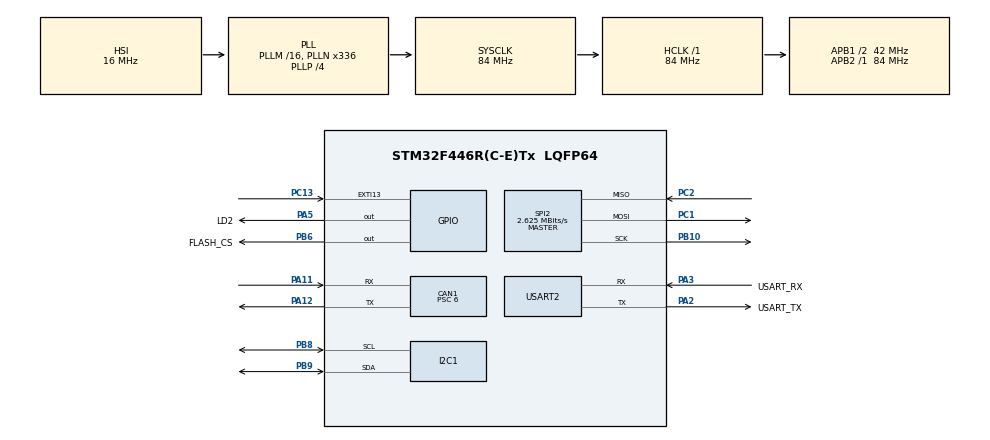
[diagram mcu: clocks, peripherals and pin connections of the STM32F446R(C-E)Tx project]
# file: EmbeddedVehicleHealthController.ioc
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CAN1.BS1=CAN_BS1_11TQ
CAN1.BS2=CAN_BS2_2TQ
CAN1.CalculateBaudRate=500000
CAN1.CalculateTimeBit=2000
CAN1.CalculateTimeQuantum=142.85714285714286
CAN1.Mode=CAN_MODE_LOOPBACK
CAN1.NART=ENABLE
CAN1.Prescaler=6
IWDG.Prescaler=IWDG_PRESCALER_64
IWDG.Reload=999
Mcu.Family=STM32F4
Mcu.Name=STM32F446R(C-E)Tx
Mcu.Package=LQFP64
NUCLEO-F446RE.BUTTON=1
NUCLEO-F446RE.LD1=true
NVIC.EXTI15_10_IRQn=true\:0\:0\:false\:false\:true\:false\:true\:true
NVIC.PriorityGroup=NVIC_PRIORITYGROUP_0
NVIC.TIM7_IRQn=true\:0\:0\:false\:false\:true\:true\:true\:true
NVIC.USART2_IRQn=true\:0\:0\:false\:false\:true\:true\:true\:true
PA11.Mode=CAN_Activate
PA11.Signal=CAN1_RX
PA12.Mode=CAN_Activate
PA12.Signal=CAN1_TX
PA13.GPIO_Label=TMS
PA13.Signal=SYS_JTMS-SWDIO
PA14.GPIO_Label=TCK
PA14.Signal=SYS_JTCK-SWCLK
PA2.GPIO_Label=USART_TX
PA2.Mode=Asynchronous
PA2.Signal=USART2_TX
PA3.GPIO_Label=USART_RX
PA3.Mode=Asynchronous
PA3.Signal=USART2_RX
PA5.GPIO_Label=LD2
PA5.Signal=GPIO_Output
PB10.Mode=Full_Duplex_Master
PB10.Signal=SPI2_SCK
PB3.GPIO_Label=SWO
PB3.Signal=SYS_JTDO-SWO
PB6.GPIO_Label=FLASH_CS
PB6.PinState=GPIO_PIN_SET
PB6.Signal=GPIO_Output
PB8.Mode=I2C
PB8.Signal=I2C1_SCL
PB9.Mode=I2C
PB9.Signal=I2C1_SDA
PC1.Mode=Full_Duplex_Master
PC1.Signal=SPI2_MOSI
PC13.Signal=GPXTI13
PC14-OSC32_IN.Signal=RCC_OSC32_IN
PC15-OSC32_OUT.Signal=RCC_OSC32_OUT
PC2.Mode=Full_Duplex_Master
PC2.Signal=SPI2_MISO
PH0-OSC_IN.Signal=RCC_OSC_IN
PH1-OSC_OUT.Signal=RCC_OSC_OUT
ProjectManager.HeapSize=0x200
ProjectManager.StackSize=0x400
ProjectManager.TargetToolchain=STM32CubeIDE
RCC.AHBFreq_Value=84000000
RCC.APB1CLKDivider=RCC_HCLK_DIV2
RCC.APB1Freq_Value=42000000
RCC.APB1TimFreq_Value=84000000
RCC.APB2Freq_Value=84000000
RCC.APB2TimFreq_Value=84000000
RCC.CortexFreq_Value=84000000
RCC.FLatency-AdvancedSettings=FLASH_LATENCY_2
RCC.HCLKFreq_Value=84000000
RCC.HSE_VALUE=8000000
RCC.HSI_VALUE=16000000
RCC.LSE_VALUE=32768
RCC.PLLN=336
RCC.PLLP=RCC_PLLP_DIV4
RCC.SYSCLKFreq_VALUE=84000000
RCC.SYSCLKSource=RCC_SYSCLKSOURCE_PLLCLK
RCC.USBFreq_Value=168000000
RCC.VCOOutputFreq_Value=336000000
SPI2.BaudRatePrescaler=SPI_BAUDRATEPRESCALER_16
SPI2.CalculateBaudRate=2.625 MBits/s
SPI2.Direction=SPI_DIRECTION_2LINES
SPI2.Mode=SPI_MODE_MASTER
SPI2.VirtualType=VM_MASTER
TIM7.Period=999
TIM7.Prescaler=8399
USART2.VirtualMode=VM_ASYNC
VP_IWDG_VS_IWDG.Mode=IWDG_Activate
VP_NUCLEO-F446RE_VS_BSP_COMMON.Mode=COMMON
VP_TIM7_VS_ClockSourceINT.Mode=Enable_Timer
board=NUCLEO-F446RE

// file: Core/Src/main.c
/* USER CODE BEGIN Header */
/**
  ******************************************************************************
  * @file           : main.c
  * @brief          : Main program body
  ******************************************************************************
  * @attention
  *
  * Copyright (c) 2026 STMicroelectronics.
  * All rights reserved.
  *
  * This software is licensed under terms that can be found in the LICENSE file
  * in the root directory of this software component.
  * If no LICENSE file comes with this software, it is provided AS-IS.
  *
  ******************************************************************************
  */
/* USER CODE END Header */
#include "main.h"

/* USER CODE BEGIN Includes */
#include "application_bridge.h"
/* USER CODE END Includes */

CAN_HandleTypeDef hcan1;

I2C_HandleTypeDef hi2c1;

IWDG_HandleTypeDef hiwdg;

SPI_HandleTypeDef hspi2;

TIM_HandleTypeDef htim7;

UART_HandleTypeDef huart2;

/* USER CODE BEGIN PV */

static uint8_t uart2RxByte;

/* USER CODE END PV */

void SystemClock_Config(void);
static void MX_GPIO_Init(void);
static void MX_TIM7_Init(void);
static void MX_USART2_UART_Init(void);
static void MX_IWDG_Init(void);
static void MX_I2C1_Init(void);
static void MX_SPI2_Init(void);
static void MX_CAN1_Init(void);

int main(void)
{

  /* MCU Configuration--------------------------------------------------------*/

  /* Reset of all peripherals, Initializes the Flash interface and the Systick. */
  HAL_Init();

  /* Configure the system clock */
  SystemClock_Config();

  /* Initialize all configured peripherals */
  MX_GPIO_Init();
  MX_TIM7_Init();
  MX_USART2_UART_Init();
  MX_IWDG_Init();
  MX_I2C1_Init();
  MX_SPI2_Init();
  MX_CAN1_Init();

  /* Initialize leds */
  BSP_LED_Init(LED2);

  /* Initialize USER push-button, will be used to trigger an interrupt each time it's pressed.*/
  BSP_PB_Init(BUTTON_USER, BUTTON_MODE_EXTI);

  /* Infinite loop */
  /* USER CODE BEGIN WHILE */
  application_init();

  if (HAL_TIM_Base_Start_IT(&htim7) != HAL_OK)
  {
      Error_Handler();
  }

  if (HAL_UART_Receive_IT(
          &huart2,
          &uart2RxByte,
          1U) != HAL_OK)
  {
      Error_Handler();
  }

  while (1)
  {

    /* USER CODE END WHILE */

    /* USER CODE BEGIN 3 */
	application_run();
  }
  /* USER CODE END 3 */
}

void SystemClock_Config(void)
{
  RCC_OscInitTypeDef RCC_OscInitStruct = {0};
  RCC_ClkInitTypeDef RCC_ClkInitStruct = {0};

  /** Configure the main internal regulator output voltage
  */
  __HAL_RCC_PWR_CLK_ENABLE();
  __HAL_PWR_VOLTAGESCALING_CONFIG(PWR_REGULATOR_VOLTAGE_SCALE3);

  /** Initializes the RCC Oscillators according to the specified parameters
  * in the RCC_OscInitTypeDef structure.
  */
  RCC_OscInitStruct.OscillatorType = RCC_OSCILLATORTYPE_HSI|RCC_OSCILLATORTYPE_LSI;
  RCC_OscInitStruct.HSIState = RCC_HSI_ON;
  RCC_OscInitStruct.HSICalibrationValue = RCC_HSICALIBRATION_DEFAULT;
  RCC_OscInitStruct.LSIState = RCC_LSI_ON;
  RCC_OscInitStruct.PLL.PLLState = RCC_PLL_ON;
  RCC_OscInitStruct.PLL.PLLSource = RCC_PLLSOURCE_HSI;
  RCC_OscInitStruct.PLL.PLLM = 16;
  RCC_OscInitStruct.PLL.PLLN = 336;
  RCC_OscInitStruct.PLL.PLLP = RCC_PLLP_DIV4;
  RCC_OscInitStruct.PLL.PLLQ = 2;
  RCC_OscInitStruct.PLL.PLLR = 2;
  if (HAL_RCC_OscConfig(&RCC_OscInitStruct) != HAL_OK)
  {
    Error_Handler();
  }

  /** Initializes the CPU, AHB and APB buses clocks
  */
  RCC_ClkInitStruct.ClockType = RCC_CLOCKTYPE_HCLK|RCC_CLOCKTYPE_SYSCLK
                              |RCC_CLOCKTYPE_PCLK1|RCC_CLOCKTYPE_PCLK2;
  RCC_ClkInitStruct.SYSCLKSource = RCC_SYSCLKSOURCE_PLLCLK;
  RCC_ClkInitStruct.AHBCLKDivider = RCC_SYSCLK_DIV1;
  RCC_ClkInitStruct.APB1CLKDivider = RCC_HCLK_DIV2;
  RCC_ClkInitStruct.APB2CLKDivider = RCC_HCLK_DIV1;

  if (HAL_RCC_ClockConfig(&RCC_ClkInitStruct, FLASH_LATENCY_2) != HAL_OK)
  {
    Error_Handler();
  }
}

static void MX_CAN1_Init(void)
{

  hcan1.Instance = CAN1;
  hcan1.Init.Prescaler = 6;
  hcan1.Init.Mode = CAN_MODE_LOOPBACK;
  hcan1.Init.SyncJumpWidth = CAN_SJW_1TQ;
  hcan1.Init.TimeSeg1 = CAN_BS1_11TQ;
  hcan1.Init.TimeSeg2 = CAN_BS2_2TQ;
  hcan1.Init.TimeTriggeredMode = DISABLE;
  hcan1.Init.AutoBusOff = DISABLE;
  hcan1.Init.AutoWakeUp = DISABLE;
  hcan1.Init.AutoRetransmission = ENABLE;
  hcan1.Init.ReceiveFifoLocked = DISABLE;
  hcan1.Init.TransmitFifoPriority = DISABLE;
  if (HAL_CAN_Init(&hcan1) != HAL_OK)
  {
    Error_Handler();
  }

}

static void MX_I2C1_Init(void)
{

  hi2c1.Instance = I2C1;
  hi2c1.Init.ClockSpeed = 100000;
  hi2c1.Init.DutyCycle = I2C_DUTYCYCLE_2;
  hi2c1.Init.OwnAddress1 = 0;
  hi2c1.Init.AddressingMode = I2C_ADDRESSINGMODE_7BIT;
  hi2c1.Init.DualAddressMode = I2C_DUALADDRESS_DISABLE;
  hi2c1.Init.OwnAddress2 = 0;
  hi2c1.Init.GeneralCallMode = I2C_GENERALCALL_DISABLE;
  hi2c1.Init.NoStretchMode = I2C_NOSTRETCH_DISABLE;
  if (HAL_I2C_Init(&hi2c1) != HAL_OK)
  {
    Error_Handler();
  }

}

static void MX_IWDG_Init(void)
{

  hiwdg.Instance = IWDG;
  hiwdg.Init.Prescaler = IWDG_PRESCALER_64;
  hiwdg.Init.Reload = 999;
  if (HAL_IWDG_Init(&hiwdg) != HAL_OK)
  {
    Error_Handler();
  }

}

static void MX_SPI2_Init(void)
{

  /* SPI2 parameter configuration*/
  hspi2.Instance = SPI2;
  hspi2.Init.Mode = SPI_MODE_MASTER;
  hspi2.Init.Direction = SPI_DIRECTION_2LINES;
  hspi2.Init.DataSize = SPI_DATASIZE_8BIT;
  hspi2.Init.CLKPolarity = SPI_POLARITY_LOW;
  hspi2.Init.CLKPhase = SPI_PHASE_1EDGE;
  hspi2.Init.NSS = SPI_NSS_SOFT;
  hspi2.Init.BaudRatePrescaler = SPI_BAUDRATEPRESCALER_16;
  hspi2.Init.FirstBit = SPI_FIRSTBIT_MSB;
  hspi2.Init.TIMode = SPI_TIMODE_DISABLE;
  hspi2.Init.CRCCalculation = SPI_CRCCALCULATION_DISABLE;
  hspi2.Init.CRCPolynomial = 10;
  if (HAL_SPI_Init(&hspi2) != HAL_OK)
  {
    Error_Handler();
  }

}

static void MX_TIM7_Init(void)
{

  TIM_MasterConfigTypeDef sMasterConfig = {0};

  htim7.Instance = TIM7;
  htim7.Init.Prescaler = 8399;
  htim7.Init.CounterMode = TIM_COUNTERMODE_UP;
  htim7.Init.Period = 999;
  htim7.Init.AutoReloadPreload = TIM_AUTORELOAD_PRELOAD_DISABLE;
  if (HAL_TIM_Base_Init(&htim7) != HAL_OK)
  {
    Error_Handler();
  }
  sMasterConfig.MasterOutputTrigger = TIM_TRGO_RESET;
  sMasterConfig.MasterSlaveMode = TIM_MASTERSLAVEMODE_DISABLE;
  if (HAL_TIMEx_MasterConfigSynchronization(&htim7, &sMasterConfig) != HAL_OK)
  {
    Error_Handler();
  }

}

static void MX_USART2_UART_Init(void)
{

  huart2.Instance = USART2;
  huart2.Init.BaudRate = 115200;
  huart2.Init.WordLength = UART_WORDLENGTH_8B;
  huart2.Init.StopBits = UART_STOPBITS_1;
  huart2.Init.Parity = UART_PARITY_NONE;
  huart2.Init.Mode = UART_MODE_TX_RX;
  huart2.Init.HwFlowCtl = UART_HWCONTROL_NONE;
  huart2.Init.OverSampling = UART_OVERSAMPLING_16;
  if (HAL_UART_Init(&huart2) != HAL_OK)
  {
    Error_Handler();
  }

}

static void MX_GPIO_Init(void)
{
  GPIO_InitTypeDef GPIO_InitStruct = {0};

  /* GPIO Ports Clock Enable */
  __HAL_RCC_GPIOC_CLK_ENABLE();
  __HAL_RCC_GPIOH_CLK_ENABLE();
  __HAL_RCC_GPIOA_CLK_ENABLE();
  __HAL_RCC_GPIOB_CLK_ENABLE();

  /*Configure GPIO pin Output Level */
  HAL_GPIO_WritePin(LD2_GPIO_Port, LD2_Pin, GPIO_PIN_RESET);

  /*Configure GPIO pin Output Level */
  HAL_GPIO_WritePin(FLASH_CS_GPIO_Port, FLASH_CS_Pin, GPIO_PIN_SET);

  /*Configure GPIO pin : LD2_Pin */
  GPIO_InitStruct.Pin = LD2_Pin;
  GPIO_InitStruct.Mode = GPIO_MODE_OUTPUT_PP;
  GPIO_InitStruct.Pull = GPIO_NOPULL;
  GPIO_InitStruct.Speed = GPIO_SPEED_FREQ_LOW;
  HAL_GPIO_Init(LD2_GPIO_Port, &GPIO_InitStruct);

  /*Configure GPIO pin : FLASH_CS_Pin */
  GPIO_InitStruct.Pin = FLASH_CS_Pin;
  GPIO_InitStruct.Mode = GPIO_MODE_OUTPUT_PP;
  GPIO_InitStruct.Pull = GPIO_NOPULL;
  GPIO_InitStruct.Speed = GPIO_SPEED_FREQ_LOW;
  HAL_GPIO_Init(FLASH_CS_GPIO_Port, &GPIO_InitStruct);

}

/* USER CODE BEGIN 4 */

void HAL_TIM_PeriodElapsedCallback(TIM_HandleTypeDef* htim)
{
    if (htim->Instance == TIM7)
    {
        application_timer_interrupt();
    }
}

void HAL_UART_RxCpltCallback(UART_HandleTypeDef* huart)
{
    if (huart->Instance == USART2)
    {
        application_uart_byte_received(uart2RxByte);

        if (HAL_UART_Receive_IT(
                huart,
                &uart2RxByte,
                1U) != HAL_OK)
        {
            application_uart_receive_error();
        }
    }
}

void HAL_UART_ErrorCallback(UART_HandleTypeDef* huart)
{
    if (huart->Instance == USART2)
    {
        application_uart_receive_error();

        if (HAL_UART_Receive_IT(
                huart,
                &uart2RxByte,
                1U) != HAL_OK)
        {
            application_uart_receive_error();
        }
    }
}

/* USER CODE END 4 */

void Error_Handler(void)
{
  __disable_irq();
  while (1)
  {
  }
}
